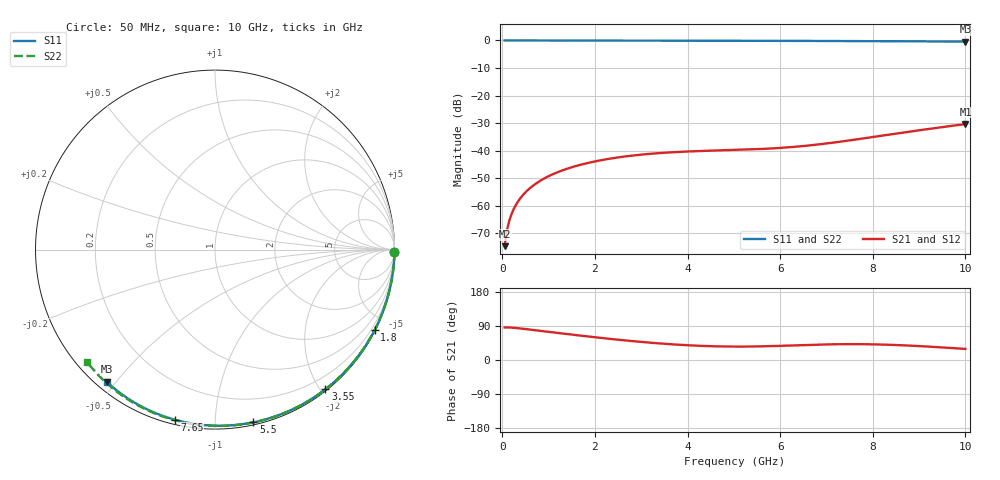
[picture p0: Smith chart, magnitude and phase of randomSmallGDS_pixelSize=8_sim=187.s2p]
! freq	dB(S11)	phase(S11)	dB(S12)	phase(S12)
!  dB(S21)	phase(S21)	dB(S22)	phase(S22)
!S-par simulation data
#  GHz  S  DB  R 50
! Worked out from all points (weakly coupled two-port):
!   200 points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, 50 MHz to 10 GHz, reference 50 ohm
!   highest |S21| = -30.33 dB at 10 GHz (marker M1); lowest = -74.6 dB at 50 MHz (marker M2)
!   lowest |S11| = -0.4 dB at 10 GHz (marker M3), VSWR 40.55, Z = 1.51 - j23.6 ohm
!   |S11| at or under -10 dB: nowhere
!   |S22| runs from -0.5 to 0.0 dB; largest |S21 - S12| = 0
!   S11 on the Smith chart (normalised r, x): 50 MHz: open; 1.8 GHz: 0.04, -4.19; 3.55 GHz: 0.02, -2.06; 5.5 GHz: 0.02, -1.25; 7.65 GHz: 0.02, -0.79; 10 GHz: 0.03, -0.47
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0.05  -0.00 -0.8  -74.60 85.9  -74.60 85.9  -0.00 -0.8
0.1  -0.00 -1.5  -68.86 86.0  -68.86 86.0  -0.00 -1.6
0.15  -0.00 -2.3  -65.42 85.9  -65.42 85.9  -0.00 -2.5
0.2  -0.00 -3.0  -62.96 85.5  -62.96 85.5  -0.00 -3.3
0.25  -0.00 -3.8  -61.04 85.0  -61.04 85.0  -0.00 -4.1
0.35  -0.00 -5.3  -58.14 83.7  -58.14 83.7  -0.00 -5.7
0.5  -0.01 -7.6  -55.08 81.7  -55.08 81.7  -0.01 -8.2
0.7  -0.01 -10.6  -52.21 78.8  -52.21 78.8  -0.01 -11.4
1  -0.02 -15.0  -49.23 74.3  -49.23 74.3  -0.02 -16.2
1.35  -0.03 -20.2  -46.80 69.2  -46.80 69.2  -0.03 -21.8
1.75  -0.03 -26.1  -44.82 63.5  -44.82 63.5  -0.04 -28.2
1.8  -0.03 -26.8  -44.62 62.8  -44.62 62.8  -0.04 -29.0
2.5  -0.05 -37.0  -42.41 53.5  -42.41 53.5  -0.05 -39.9
3.4  -0.07 -49.6  -40.84 43.7  -40.84 43.7  -0.07 -53.5
3.55  -0.07 -51.7  -40.67 42.4  -40.67 42.4  -0.07 -55.7
4.3  -0.09 -61.9  -40.08 37.3  -40.08 37.3  -0.09 -66.6
5.05  -0.11 -71.7  -39.69 35.4  -39.69 35.4  -0.12 -77.1
5.5  -0.12 -77.5  -39.42 35.8  -39.42 35.8  -0.13 -83.2
6.7  -0.18 -92.2  -37.94 40.2  -37.94 40.2  -0.19 -98.9
7.65  -0.23 -103.3  -35.88 41.8  -35.88 41.8  -0.25 -110.8
8.35  -0.28 -111.3  -34.16 40.2  -34.16 40.2  -0.30 -119.3
10  -0.43 -129.4  -30.33 29.3  -30.33 29.3  -0.46 -138.9
